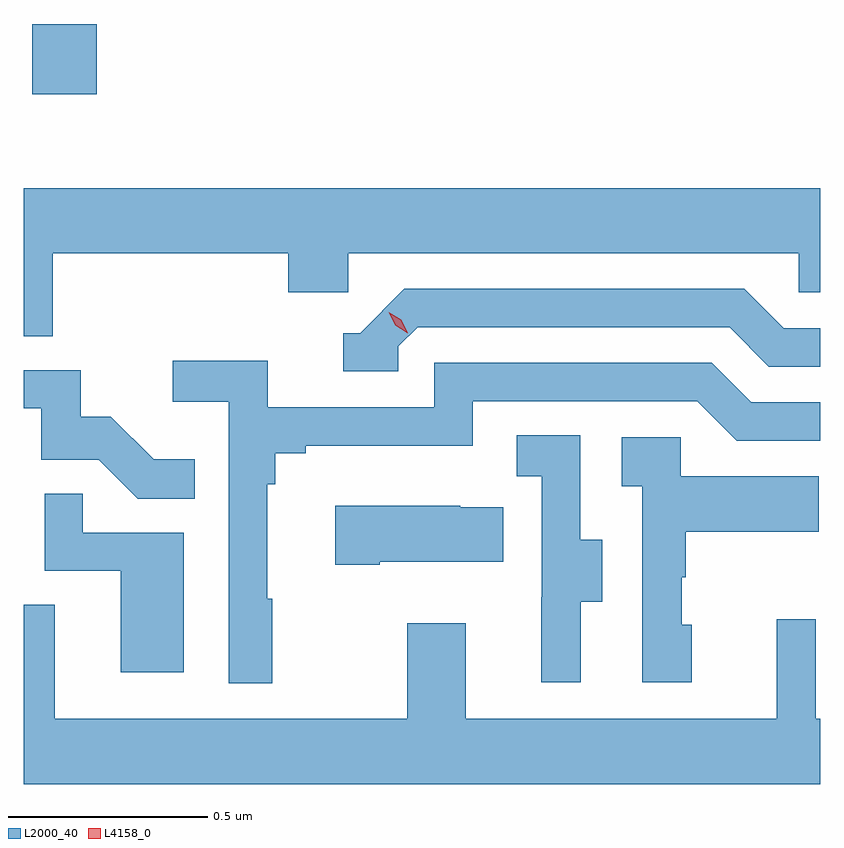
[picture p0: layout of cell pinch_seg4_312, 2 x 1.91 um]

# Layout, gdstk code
import gdstk
lib = gdstk.Library(unit=1e-6, precision=1e-09)
def R(c, l, rs):  # rectangles x0, y0, x1, y1
    for r in rs: c.add(gdstk.rectangle(r[:2], r[2:], *l))
def P(c, l, *ps):  # polygons
    for p in ps: c.add(gdstk.Polygon(p, *l))
L2000_40 = (2000, 40)
L4158_0 = (4158, 0)

pinch_seg4_312 = lib.new_cell('pinch_seg4_312')
R(pinch_seg4_312, L2000_40, [(946.103,805.212,946.264,805.388)])
P(pinch_seg4_312, L2000_40, [(946.154,804.812),(946.745,804.812),(946.745,804.714),(946.896,804.714),(946.896,804.812),(948.027,804.812),(948.027,804.714),(948.081,804.714),(948.081,804.976),(946.081,804.976),(946.081,804.604),(946.154,804.604)],
  [(947.022,804.579),(947.07,804.627),(947.853,804.627),(947.952,804.528),(948.081,804.528),(948.081,804.624),(947.989,804.624),(947.89,804.723),(947.037,804.723),(946.926,804.612),(946.883,804.612),(946.883,804.516),(947.022,804.516)],
  [(946.705,803.945),(946.693,803.945),(946.693,804.233),(946.712,804.233),(946.712,804.31),(946.789,804.31),(946.789,804.329),(947.208,804.329),(947.208,804.441),(947.772,804.441),(947.871,804.342),(948.081,804.342),(948.081,804.438),(947.908,804.438),(947.809,804.537),(947.112,804.537),(947.112,804.426),(946.694,804.426),(946.694,804.542),(946.455,804.542),(946.455,804.44),(946.596,804.44),(946.596,803.733),(946.705,803.733)],
  [(946.511,804.295),(946.407,804.295),(946.3,804.402),(946.224,804.402),(946.224,804.519),(946.081,804.519),(946.081,804.423),(946.125,804.423),(946.125,804.294),(946.269,804.294),(946.367,804.196),(946.511,804.196)],
  [(947.479,803.938),(947.533,803.938),(947.533,804.093),(947.478,804.093),(947.478,804.356),(947.319,804.356),(947.319,804.253),(947.382,804.253),(947.382,803.949),(947.381,803.949),(947.381,803.736),(947.479,803.736)],
  [(947.758,803.88),(947.733,803.88),(947.733,803.999),(947.743,803.999),(947.743,804.113),(948.077,804.113),(948.077,804.253),(947.73,804.253),(947.73,804.351),(947.583,804.351),(947.583,804.227),(947.634,804.227),(947.634,803.736),(947.758,803.736)],
  [(946.483,804.111),(946.229,804.111),(946.229,804.209),(946.134,804.209),(946.134,804.015),(946.325,804.015),(946.325,803.76),(946.483,803.76)],
  [(946.975,804.038),(947.285,804.038),(947.285,804.175),(947.177,804.175),(947.177,804.178),(946.863,804.178),(946.863,804.031),(946.975,804.031)],
  [(948.081,803.644),(948.069,803.644),(948.069,803.893),(947.972,803.893),(947.972,803.644),(947.191,803.644),(947.191,803.884),(947.044,803.884),(947.044,803.644),(946.159,803.644),(946.159,803.93),(946.081,803.93),(946.081,803.48),(948.081,803.48)])
P(pinch_seg4_312, L4158_0, [(947.045,804.612),(947.014,804.632),(946.998,804.664),(946.998,804.664),(946.998,804.664),(947.029,804.645),(947.045,804.612),(947.045,804.612)])

lib.write_gds('pinch_seg4_312.gds')
